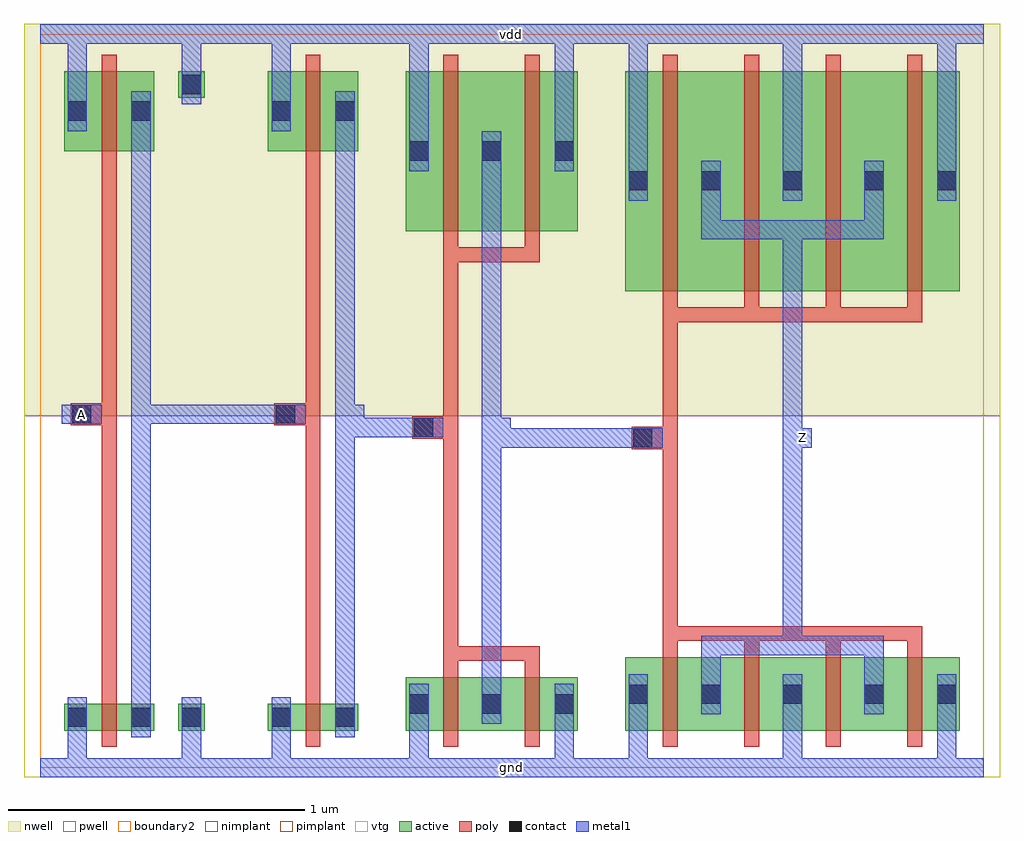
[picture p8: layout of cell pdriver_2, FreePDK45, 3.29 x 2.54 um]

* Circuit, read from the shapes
.subckt pdriver_2 A Z gnd vdd
M1 pinv_10_1/A A gnd gnd nfet w=0.09u l=0.05u
M2 pinv_11_2/A pinv_10_1/A gnd gnd nfet w=0.09u l=0.05u
M3 pinv_12_3/A pinv_11_2/A gnd gnd nfet w=0.18u l=0.05u m=2
M4 Z pinv_12_3/A gnd gnd nfet w=0.2475u l=0.05u m=4
M5 pinv_10_1/A A vdd vdd pfet w=0.27u l=0.05u
M6 pinv_11_2/A pinv_10_1/A vdd vdd pfet w=0.27u l=0.05u
M7 pinv_12_3/A pinv_11_2/A vdd vdd pfet w=0.54u l=0.05u m=2
M8 Z pinv_12_3/A vdd vdd pfet w=0.7425u l=0.05u m=4
.ends

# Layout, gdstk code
import gdstk
lib = gdstk.Library(unit=1e-6, precision=5e-10)
def R(c, l, rs):  # rectangles x0, y0, x1, y1
    for r in rs: c.add(gdstk.rectangle(r[:2], r[2:], *l))
def A(c, l, x, y, w, h, nx, ny, dx, dy):  # array of equal rectangles
    R(c, l, [(x+i*dx, y+j*dy, x+i*dx+w, y+j*dy+h) for i in range(nx) for j in range(ny)])
active = (1, 0)
pwell = (2, 0)
nwell = (3, 0)
nimplant = (4, 0)
pimplant = (5, 0)
vtg = (6, 0)
poly = (9, 0)
contact = (10, 0)
metal1 = (11, 0)
boundary2 = (239, 0)

contact_9 = lib.new_cell('contact_9')
R(contact_9, active, [(0,0.0225,0.09,0.1125)])
R(contact_9, nwell, [(-0.055,-0.0325,0.145,0.1675)])
R(contact_9, pimplant, [(0,0.0225,0.09,0.1125)])
R(contact_9, contact, [(0.0125,0.035,0.0775,0.1)])
R(contact_9, metal1, [(0.0125,0,0.0775,0.135)])
R(contact_9, boundary2, [(-0.055,-0.0325,0.145,0.1675)])

pmos_m1_w0_270_sm1_dm1_d = lib.new_cell('pmos_m1_w0_270_sm1_dm1_da_p')
R(pmos_m1_w0_270_sm1_dm1_d, active, [(0,0,0.305,0.27)])
R(pmos_m1_w0_270_sm1_dm1_d, nwell, [(-0.08,-0.08,0.385,0.35)])
R(pmos_m1_w0_270_sm1_dm1_d, pimplant, [(0,0,0.305,0.27)])
R(pmos_m1_w0_270_sm1_dm1_d, vtg, [(-0.08,-0.08,0.385,0.35)])
R(pmos_m1_w0_270_sm1_dm1_d, poly, [(0.1275,-0.055,0.1775,0.325), (0.1275,-0.055,0.1775,0.325)])
R(pmos_m1_w0_270_sm1_dm1_d, metal1, [(0.0125,0.0675,0.0775,0.2025), (0.2275,0.0675,0.2925,0.2025)])
R(pmos_m1_w0_270_sm1_dm1_d, boundary2, [(-0.08,-0.08,0.385,0.35)])
pmos_m1_w0_270_sm1_dm1_d.add(gdstk.Reference(contact_9, (0,0.0675)))
pmos_m1_w0_270_sm1_dm1_d.add(gdstk.Reference(contact_9, (0.215,0.0675)))
pmos_m1_w0_270_sm1_dm1_d.add(gdstk.Label('G', (0.1525,0.135), layer=9, texttype=0))
pmos_m1_w0_270_sm1_dm1_d.add(gdstk.Label('S', (0.045,0.135), layer=11, texttype=0))
pmos_m1_w0_270_sm1_dm1_d.add(gdstk.Label('D', (0.26,0.135), layer=11, texttype=0))

contact_14 = lib.new_cell('contact_14')
R(contact_14, active, [(0,0.0225,0.09,0.1125)])
R(contact_14, pwell, [(-0.055,-0.0325,0.145,0.1675)])
R(contact_14, nimplant, [(0,0.0225,0.09,0.1125)])
R(contact_14, contact, [(0.0125,0.035,0.0775,0.1)])
R(contact_14, metal1, [(0.0125,0,0.0775,0.135)])
R(contact_14, boundary2, [(-0.055,-0.0325,0.145,0.1675)])

nmos_m1_w0_090_sm1_dm1_d = lib.new_cell('nmos_m1_w0_090_sm1_dm1_da_p')
R(nmos_m1_w0_090_sm1_dm1_d, active, [(0,0,0.305,0.09)])
R(nmos_m1_w0_090_sm1_dm1_d, pwell, [(-0.08,-0.08,0.385,0.17)])
R(nmos_m1_w0_090_sm1_dm1_d, nimplant, [(0,0,0.305,0.09)])
R(nmos_m1_w0_090_sm1_dm1_d, vtg, [(-0.08,-0.08,0.385,0.17)])
R(nmos_m1_w0_090_sm1_dm1_d, poly, [(0.1275,-0.055,0.1775,0.145), (0.1275,-0.055,0.1775,0.145)])
R(nmos_m1_w0_090_sm1_dm1_d, metal1, [(0.0125,-0.0225,0.0775,0.1125), (0.2275,-0.0225,0.2925,0.1125)])
R(nmos_m1_w0_090_sm1_dm1_d, boundary2, [(-0.08,-0.08,0.385,0.17)])
nmos_m1_w0_090_sm1_dm1_d.add(gdstk.Reference(contact_14, (0,-0.0225)))
nmos_m1_w0_090_sm1_dm1_d.add(gdstk.Reference(contact_14, (0.215,-0.0225)))
nmos_m1_w0_090_sm1_dm1_d.add(gdstk.Label('G', (0.1525,0.045), layer=9, texttype=0))
nmos_m1_w0_090_sm1_dm1_d.add(gdstk.Label('S', (0.045,0.045), layer=11, texttype=0))
nmos_m1_w0_090_sm1_dm1_d.add(gdstk.Label('D', (0.26,0.045), layer=11, texttype=0))

contact_18 = lib.new_cell('contact_18')
R(contact_18, active, [(0,0.0225,0.09,0.1125)])
R(contact_18, nwell, [(-0.055,-0.0325,0.145,0.1675)])
R(contact_18, nimplant, [(0,0.0225,0.09,0.1125)])
R(contact_18, contact, [(0.0125,0.035,0.0775,0.1)])
R(contact_18, metal1, [(0.0125,0,0.0775,0.135)])
R(contact_18, boundary2, [(-0.055,-0.0325,0.145,0.1675)])

contact_19 = lib.new_cell('contact_19')
R(contact_19, active, [(0,0.0225,0.09,0.1125)])
R(contact_19, pwell, [(-0.055,-0.0325,0.145,0.1675)])
R(contact_19, pimplant, [(0,0.0225,0.09,0.1125)])
R(contact_19, contact, [(0.0125,0.035,0.0775,0.1)])
R(contact_19, metal1, [(0.0125,0,0.0775,0.135)])
R(contact_19, boundary2, [(-0.055,-0.0325,0.145,0.1675)])

contact_10 = lib.new_cell('contact_10')
R(contact_10, poly, [(0.03,0,0.105,0.075)])
R(contact_10, contact, [(0.035,0.005,0.1,0.07)])
R(contact_10, metal1, [(0,0.005,0.135,0.07)])
R(contact_10, boundary2, [(0,0,0.135,0.075)])

pinv_1 = lib.new_cell('pinv_1')
R(pinv_1, pwell, [(-0.055,-0.0325,0.7425,1.1875)])
R(pinv_1, nwell, [(-0.055,1.1875,0.7425,2.51)])
R(pinv_1, vtg, [(-0.055,-0.0325,0.7425,1.1875), (-0.055,1.1875,0.7425,2.51)])
R(pinv_1, poly, [(0.2075,0.27,0.2575,2.025), (0.14,1.155,0.2075,1.23)])
R(pinv_1, metal1, [(0,-0.0325,0.6875,0.0325), (0.0925,-0.0325,0.1575,0.1025), (0.4775,0,0.5425,0.17), (0.3075,0.1025,0.3725,2.2825), (0.0725,1.16,0.2075,1.225), (0.34,1.16,0.405,1.225), (0.0925,2.1475,0.1575,2.5075), (0.4775,2.305,0.5425,2.475), (0,2.4425,0.6875,2.5075)])
R(pinv_1, boundary2, [(0,0,0.6875,2.475), (0,0,0.6875,2.475)])
pinv_1.add(gdstk.Reference(pmos_m1_w0_270_sm1_dm1_d, (0.08,2.08)))
pinv_1.add(gdstk.Reference(nmos_m1_w0_090_sm1_dm1_d, (0.08,0.125)))
pinv_1.add(gdstk.Reference(contact_18, (0.465,2.2375)))
pinv_1.add(gdstk.Reference(contact_19, (0.465,0.1025)))
pinv_1.add(gdstk.Reference(contact_10, (0.0725,1.155)))
pinv_1.add(gdstk.Label('A', (0.14,1.1925), layer=11, texttype=0))
pinv_1.add(gdstk.Label('Z', (0.3725,1.1925), layer=11, texttype=0))
pinv_1.add(gdstk.Label('gnd', (0.344,0), layer=11, texttype=0))
pinv_1.add(gdstk.Label('vdd', (0.344,2.475), layer=11, texttype=0))

pinv_10 = lib.new_cell('pinv_10')
R(pinv_10, pwell, [(-0.055,-0.0325,0.52,1.1875)])
R(pinv_10, nwell, [(-0.055,1.1875,0.52,2.51)])
R(pinv_10, vtg, [(-0.055,-0.0325,0.52,1.1875), (-0.055,1.1875,0.52,2.51)])
R(pinv_10, poly, [(0.2075,0.27,0.2575,2.025), (0.14,1.155,0.2075,1.23)])
R(pinv_10, metal1, [(0,-0.0325,0.465,0.0325), (0.0925,-0.0325,0.1575,0.1025), (0.3075,0.1025,0.3725,2.2825), (0.0725,1.16,0.2075,1.225), (0.34,1.16,0.405,1.225), (0.0925,2.1475,0.1575,2.5075), (0,2.4425,0.465,2.5075)])
R(pinv_10, boundary2, [(0,0,0.465,2.475), (0,0,0.465,2.475)])
pinv_10.add(gdstk.Reference(pmos_m1_w0_270_sm1_dm1_d, (0.08,2.08)))
pinv_10.add(gdstk.Reference(nmos_m1_w0_090_sm1_dm1_d, (0.08,0.125)))
pinv_10.add(gdstk.Reference(contact_10, (0.0725,1.155)))
pinv_10.add(gdstk.Label('A', (0.14,1.1925), layer=11, texttype=0))
pinv_10.add(gdstk.Label('Z', (0.3725,1.1925), layer=11, texttype=0))
pinv_10.add(gdstk.Label('gnd', (0.2325,0), layer=11, texttype=0))
pinv_10.add(gdstk.Label('vdd', (0.2325,2.475), layer=11, texttype=0))

pmos_m2_w0_540_sm1_dm1_d = lib.new_cell('pmos_m2_w0_540_sm1_dm1_da_p')
R(pmos_m2_w0_540_sm1_dm1_d, active, [(0,0,0.58,0.54)])
R(pmos_m2_w0_540_sm1_dm1_d, nwell, [(-0.08,-0.08,0.66,0.62)])
R(pmos_m2_w0_540_sm1_dm1_d, pimplant, [(0,0,0.58,0.54)])
R(pmos_m2_w0_540_sm1_dm1_d, vtg, [(-0.08,-0.08,0.66,0.62)])
R(pmos_m2_w0_540_sm1_dm1_d, poly, [(0.1275,-0.105,0.4525,-0.055), (0.1275,-0.055,0.1775,0.595), (0.4025,-0.055,0.4525,0.595)])
A(pmos_m2_w0_540_sm1_dm1_d, metal1, 0.0125, 0.2025, 0.065, 0.135, 3, 1, 0.245, 0)
R(pmos_m2_w0_540_sm1_dm1_d, boundary2, [(-0.08,-0.08,0.66,0.62)])
pmos_m2_w0_540_sm1_dm1_d.add(gdstk.Reference(contact_9, (0,0.2025)))
pmos_m2_w0_540_sm1_dm1_d.add(gdstk.Reference(contact_9, (0.245,0.2025)))
pmos_m2_w0_540_sm1_dm1_d.add(gdstk.Reference(contact_9, (0.49,0.2025)))
pmos_m2_w0_540_sm1_dm1_d.add(gdstk.Label('G', (0.29,-0.08), layer=9, texttype=0))
pmos_m2_w0_540_sm1_dm1_d.add(gdstk.Label('S', (0.535,0.27), layer=11, texttype=0))
pmos_m2_w0_540_sm1_dm1_d.add(gdstk.Label('S', (0.045,0.27), layer=11, texttype=0))
pmos_m2_w0_540_sm1_dm1_d.add(gdstk.Label('D', (0.29,0.27), layer=11, texttype=0))

nmos_m2_w0_180_sm1_dm1_d = lib.new_cell('nmos_m2_w0_180_sm1_dm1_da_p')
R(nmos_m2_w0_180_sm1_dm1_d, active, [(0,0,0.58,0.18)])
R(nmos_m2_w0_180_sm1_dm1_d, pwell, [(-0.08,-0.08,0.66,0.26)])
R(nmos_m2_w0_180_sm1_dm1_d, nimplant, [(0,0,0.58,0.18)])
R(nmos_m2_w0_180_sm1_dm1_d, vtg, [(-0.08,-0.08,0.66,0.26)])
R(nmos_m2_w0_180_sm1_dm1_d, poly, [(0.1275,-0.055,0.1775,0.235), (0.4025,-0.055,0.4525,0.235), (0.1275,0.235,0.4525,0.285)])
A(nmos_m2_w0_180_sm1_dm1_d, metal1, 0.0125, 0.0225, 0.065, 0.135, 3, 1, 0.245, 0)
R(nmos_m2_w0_180_sm1_dm1_d, boundary2, [(-0.08,-0.08,0.66,0.26)])
nmos_m2_w0_180_sm1_dm1_d.add(gdstk.Reference(contact_14, (0,0.0225)))
nmos_m2_w0_180_sm1_dm1_d.add(gdstk.Reference(contact_14, (0.245,0.0225)))
nmos_m2_w0_180_sm1_dm1_d.add(gdstk.Reference(contact_14, (0.49,0.0225)))
nmos_m2_w0_180_sm1_dm1_d.add(gdstk.Label('G', (0.29,0.26), layer=9, texttype=0))
nmos_m2_w0_180_sm1_dm1_d.add(gdstk.Label('S', (0.535,0.09), layer=11, texttype=0))
nmos_m2_w0_180_sm1_dm1_d.add(gdstk.Label('S', (0.045,0.09), layer=11, texttype=0))
nmos_m2_w0_180_sm1_dm1_d.add(gdstk.Label('D', (0.29,0.09), layer=11, texttype=0))

pinv_11 = lib.new_cell('pinv_11')
R(pinv_11, pwell, [(-0.055,-0.0325,0.795,1.1875)])
R(pinv_11, nwell, [(-0.055,1.1875,0.795,2.51)])
R(pinv_11, vtg, [(-0.055,-0.0325,0.795,1.1875), (-0.055,1.1875,0.795,2.51)])
R(pinv_11, poly, [(0.2075,0.41,0.2575,1.705), (0.14,1.11,0.2075,1.185)])
R(pinv_11, metal1, [(0,-0.0325,0.74,0.0325), (0.0925,-0.0325,0.1575,0.1475), (0.5825,-0.0325,0.6475,0.1475), (0.3375,0.1475,0.4025,2.1475), (0.0725,1.115,0.2075,1.18), (0.37,1.115,0.435,1.18), (0.0925,2.0125,0.1575,2.5075), (0.5825,2.0125,0.6475,2.5075), (0,2.4425,0.74,2.5075)])
R(pinv_11, boundary2, [(0,0,0.74,2.475), (0,0,0.74,2.475)])
pinv_11.add(gdstk.Reference(pmos_m2_w0_540_sm1_dm1_d, (0.08,1.81)))
pinv_11.add(gdstk.Reference(nmos_m2_w0_180_sm1_dm1_d, (0.08,0.125)))
pinv_11.add(gdstk.Reference(contact_10, (0.0725,1.11)))
pinv_11.add(gdstk.Label('A', (0.14,1.1475), layer=11, texttype=0))
pinv_11.add(gdstk.Label('Z', (0.4025,1.1475), layer=11, texttype=0))
pinv_11.add(gdstk.Label('gnd', (0.37,0), layer=11, texttype=0))
pinv_11.add(gdstk.Label('vdd', (0.37,2.475), layer=11, texttype=0))

pmos_m4_w0_743_sm1_dm1_d = lib.new_cell('pmos_m4_w0_743_sm1_dm1_da_p')
R(pmos_m4_w0_743_sm1_dm1_d, active, [(0,0,1.13,0.7425)])
R(pmos_m4_w0_743_sm1_dm1_d, nwell, [(-0.08,-0.08,1.21,0.8225)])
R(pmos_m4_w0_743_sm1_dm1_d, pimplant, [(0,0,1.13,0.7425)])
R(pmos_m4_w0_743_sm1_dm1_d, vtg, [(-0.08,-0.08,1.21,0.8225)])
A(pmos_m4_w0_743_sm1_dm1_d, poly, 0.1275, -0.055, 0.05, 0.8525, 4, 1, 0.275, 0)
R(pmos_m4_w0_743_sm1_dm1_d, poly, [(0.1275,-0.105,1.0025,-0.055)])
A(pmos_m4_w0_743_sm1_dm1_d, metal1, 0.0125, 0.305, 0.065, 0.135, 3, 1, 0.52, 0)
R(pmos_m4_w0_743_sm1_dm1_d, metal1, [(0.2575,0.175,0.8725,0.24), (0.2575,0.205,0.3225,0.37), (0.8075,0.205,0.8725,0.37)])
R(pmos_m4_w0_743_sm1_dm1_d, boundary2, [(-0.08,-0.08,1.21,0.8225)])
pmos_m4_w0_743_sm1_dm1_d.add(gdstk.Reference(contact_9, (0,0.305)))
pmos_m4_w0_743_sm1_dm1_d.add(gdstk.Reference(contact_9, (0.245,0.305)))
pmos_m4_w0_743_sm1_dm1_d.add(gdstk.Reference(contact_9, (0.52,0.305)))
pmos_m4_w0_743_sm1_dm1_d.add(gdstk.Reference(contact_9, (0.795,0.305)))
pmos_m4_w0_743_sm1_dm1_d.add(gdstk.Reference(contact_9, (1.04,0.305)))
pmos_m4_w0_743_sm1_dm1_d.add(gdstk.Label('G', (0.565,-0.08), layer=9, texttype=0))
pmos_m4_w0_743_sm1_dm1_d.add(gdstk.Label('S', (0.565,0.3725), layer=11, texttype=0))
pmos_m4_w0_743_sm1_dm1_d.add(gdstk.Label('S', (0.045,0.3725), layer=11, texttype=0))
pmos_m4_w0_743_sm1_dm1_d.add(gdstk.Label('S', (1.085,0.3725), layer=11, texttype=0))
pmos_m4_w0_743_sm1_dm1_d.add(gdstk.Label('D', (0.565,0.2075), layer=11, texttype=0))

nmos_m4_w0_247_sm1_dm1_d = lib.new_cell('nmos_m4_w0_247_sm1_dm1_da_p')
R(nmos_m4_w0_247_sm1_dm1_d, active, [(0,0,1.13,0.2475)])
R(nmos_m4_w0_247_sm1_dm1_d, pwell, [(-0.08,-0.08,1.21,0.3275)])
R(nmos_m4_w0_247_sm1_dm1_d, nimplant, [(0,0,1.13,0.2475)])
R(nmos_m4_w0_247_sm1_dm1_d, vtg, [(-0.08,-0.08,1.21,0.3275)])
A(nmos_m4_w0_247_sm1_dm1_d, poly, 0.1275, -0.055, 0.05, 0.3575, 4, 1, 0.275, 0)
R(nmos_m4_w0_247_sm1_dm1_d, poly, [(0.1275,0.3025,1.0025,0.3525)])
A(nmos_m4_w0_247_sm1_dm1_d, metal1, 0.0125, 0.055, 0.065, 0.135, 3, 1, 0.52, 0)
R(nmos_m4_w0_247_sm1_dm1_d, metal1, [(0.2575,0.125,0.3225,0.29), (0.8075,0.125,0.8725,0.29), (0.2575,0.255,0.8725,0.32)])
R(nmos_m4_w0_247_sm1_dm1_d, boundary2, [(-0.08,-0.08,1.21,0.3275)])
nmos_m4_w0_247_sm1_dm1_d.add(gdstk.Reference(contact_14, (0,0.055)))
nmos_m4_w0_247_sm1_dm1_d.add(gdstk.Reference(contact_14, (0.245,0.055)))
nmos_m4_w0_247_sm1_dm1_d.add(gdstk.Reference(contact_14, (0.52,0.055)))
nmos_m4_w0_247_sm1_dm1_d.add(gdstk.Reference(contact_14, (0.795,0.055)))
nmos_m4_w0_247_sm1_dm1_d.add(gdstk.Reference(contact_14, (1.04,0.055)))
nmos_m4_w0_247_sm1_dm1_d.add(gdstk.Label('G', (0.565,0.3275), layer=9, texttype=0))
nmos_m4_w0_247_sm1_dm1_d.add(gdstk.Label('S', (0.565,0.1225), layer=11, texttype=0))
nmos_m4_w0_247_sm1_dm1_d.add(gdstk.Label('S', (0.045,0.1225), layer=11, texttype=0))
nmos_m4_w0_247_sm1_dm1_d.add(gdstk.Label('S', (1.085,0.1225), layer=11, texttype=0))
nmos_m4_w0_247_sm1_dm1_d.add(gdstk.Label('D', (0.565,0.2875), layer=11, texttype=0))

pinv_12 = lib.new_cell('pinv_12')
R(pinv_12, pwell, [(-0.055,-0.0325,1.345,1.1875)])
R(pinv_12, nwell, [(-0.055,1.1875,1.345,2.51)])
R(pinv_12, vtg, [(-0.055,-0.0325,1.345,1.1875), (-0.055,1.1875,1.345,2.51)])
R(pinv_12, poly, [(0.2075,0.4775,0.2575,1.5025), (0.14,1.075,0.2075,1.15)])
A(pinv_12, metal1, 0.0925, -0.0325, 0.065, 0.2125, 3, 1, 0.52, 0)
A(pinv_12, metal1, 0.0925, 1.9125, 0.065, 0.595, 3, 1, 0.52, 0)
R(pinv_12, metal1, [(0,-0.0325,1.29,0.0325), (0.6125,0.38,0.6775,1.8475), (0.0725,1.08,0.2075,1.145), (0.645,1.08,0.71,1.145), (0,2.4425,1.29,2.5075)])
R(pinv_12, boundary2, [(0,0,1.29,2.475), (0,0,1.29,2.475)])
pinv_12.add(gdstk.Reference(pmos_m4_w0_743_sm1_dm1_d, (0.08,1.6075)))
pinv_12.add(gdstk.Reference(nmos_m4_w0_247_sm1_dm1_d, (0.08,0.125)))
pinv_12.add(gdstk.Reference(contact_10, (0.0725,1.075)))
pinv_12.add(gdstk.Label('A', (0.14,1.1125), layer=11, texttype=0))
pinv_12.add(gdstk.Label('Z', (0.6775,1.1125), layer=11, texttype=0))
pinv_12.add(gdstk.Label('gnd', (0.645,0), layer=11, texttype=0))
pinv_12.add(gdstk.Label('vdd', (0.645,2.475), layer=11, texttype=0))

pdriver_2 = lib.new_cell('pdriver_2')
R(pdriver_2, pwell, [(-0.055,-0.0325,3.2375,1.1875)])
R(pdriver_2, nwell, [(-0.055,1.1875,3.2375,2.51)])
R(pdriver_2, vtg, [(-0.055,-0.0325,3.2375,1.1875), (-0.055,1.1875,3.2375,2.51)])
R(pdriver_2, metal1, [(0,-0.0325,3.1825,0.0325), (1.5225,1.08,1.5875,1.145), (1.555,1.08,2.0325,1.145), (2.5375,1.08,2.6025,1.145), (1.5225,1.1125,1.5875,1.1475), (1.0275,1.115,1.0925,1.18), (1.06,1.115,1.2925,1.18), (1.0275,1.1475,1.0925,1.1925), (0.0725,1.16,0.2075,1.225), (0.3725,1.16,0.8275,1.225), (0,2.4425,3.1825,2.5075)])
R(pdriver_2, boundary2, [(0,0,3.1825,2.475), (0,0,3.1825,2.475)])
pdriver_2.add(gdstk.Reference(pinv_1, (0,0)))
pdriver_2.add(gdstk.Reference(pinv_10, (0.6875,0)))
pdriver_2.add(gdstk.Reference(pinv_11, (1.1525,0)))
pdriver_2.add(gdstk.Reference(pinv_12, (1.8925,0)))
pdriver_2.add(gdstk.Label('Z', (2.57,1.1125), layer=11, texttype=0))
pdriver_2.add(gdstk.Label('A', (0.14,1.1925), layer=11, texttype=0))
pdriver_2.add(gdstk.Label('gnd', (1.591,0), layer=11, texttype=0))
pdriver_2.add(gdstk.Label('vdd', (1.591,2.475), layer=11, texttype=0))

lib.write_gds('pdriver_2.gds')
